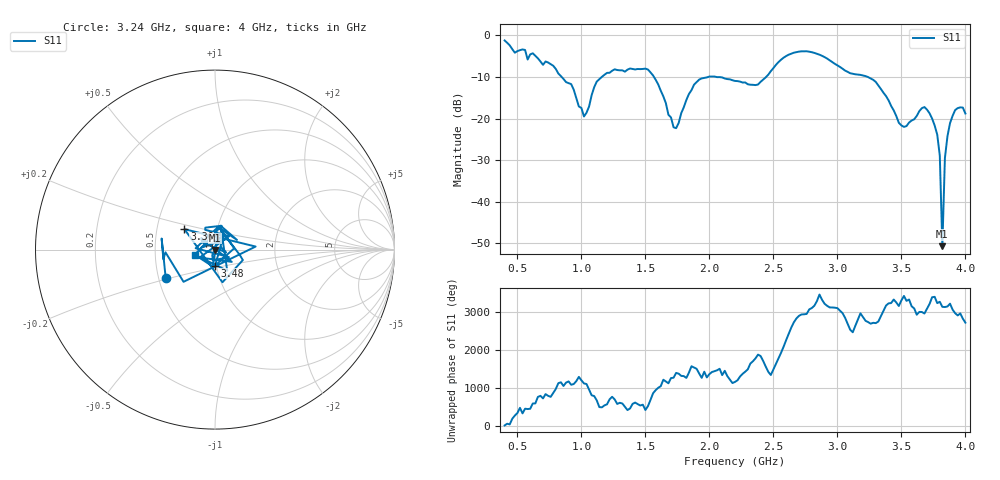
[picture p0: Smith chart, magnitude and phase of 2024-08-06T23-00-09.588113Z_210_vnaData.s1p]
!Created with skrf (http://scikit-rf.org).
# Hz S RI R 50.0
!freq ReS11 ImS11
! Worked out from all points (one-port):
!   181 points, 400 MHz to 4 GHz, reference 50 ohm
!   lowest |S11| = -50.7 dB at 3.82 GHz (marker M1), VSWR 1.01, Z = 49.9 - j0.271 ohm
!   |S11| at or under -10 dB: 1.568 GHz to 1.988 GHz (420.4 MHz wide, 23.6 % of centre); 2.058 GHz to 2.442 GHz (384.5 MHz wide, 17.1 % of centre); 3.239 GHz to end of sweep (the widest 3 of 4)
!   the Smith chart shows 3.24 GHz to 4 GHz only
!   S11 on the Smith chart (normalised r, x): 3.24 GHz: 0.55, -0.19; 3.36 GHz: 0.69, +0.16; 3.48 GHz: 0.99, -0.18; 4 GHz: 0.80, -0.05
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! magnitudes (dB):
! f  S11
! 400 MHz  -1.2
! 860 MHz  -10.4
! 920 MHz  -11.7
! 1.02 GHz  -19.5
! 1.12 GHz  -11.1
! 1.3 GHz  -8.4
! 1.52 GHz  -8.2
! 1.6 GHz  -11.8
! 1.72 GHz  -22.1
! 1.76 GHz  -21.0
! 1.92 GHz  -10.6
! 2.2 GHz  -10.9
! 2.38 GHz  -11.8
! 2.66 GHz  -4.1
! 2.84 GHz  -4.4
! 3.1 GHz  -9.1
! 3.24 GHz  -10.0
! 3.36 GHz  -13.8
! 3.48 GHz  -21.0
! 3.56 GHz  -20.9
! 3.68 GHz  -17.2
! 3.78 GHz  -23.8
! 3.8 GHz  -28.9
! 3.82 GHz  -50.7
! 3.84 GHz  -29.5
! 3.86 GHz  -24.2
! 3.92 GHz  -17.9
! 4 GHz  -18.8
